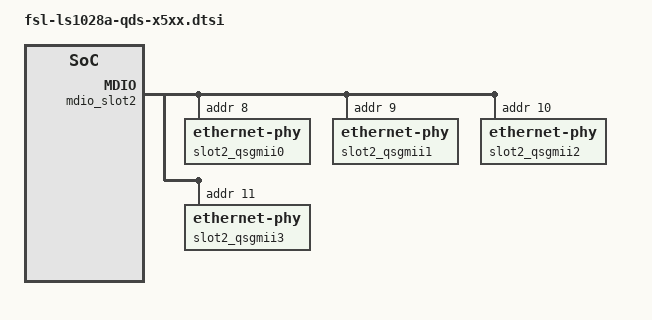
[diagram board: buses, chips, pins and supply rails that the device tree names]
// SPDX-License-Identifier: (GPL-2.0+ OR MIT)
/*
 * Device Tree Include file for LS1028A QDS board, serdes x5xx
 *
 * Copyright 2019 NXP
 *
 */

&mdio_slot2 {
	/* 4 ports on VSC8514 */
	slot2_qsgmii0: ethernet-phy@8 {
		reg = <0x8>;
	};

	slot2_qsgmii1: ethernet-phy@9 {
		reg = <0x9>;
	};

	slot2_qsgmii2: ethernet-phy@a {
		reg = <0xa>;
	};

	slot2_qsgmii3: ethernet-phy@b {
		reg = <0xb>;
	};
};

/* l2switch ports */
&mscc_felix_ports {
	port@0 {
		status = "okay";
		phy-handle = <&slot2_qsgmii0>;
		phy-mode = "qsgmii";
		managed = "in-band-status";
	};

	port@1 {
		status = "okay";
		phy-handle = <&slot2_qsgmii1>;
		phy-mode = "qsgmii";
		managed = "in-band-status";
	};

	port@2 {
		status = "okay";
		phy-handle = <&slot2_qsgmii2>;
		phy-mode = "qsgmii";
		managed = "in-band-status";
	};

	port@3 {
		status = "okay";
		phy-handle = <&slot2_qsgmii3>;
		phy-mode = "qsgmii";
		managed = "in-band-status";
	};
};
